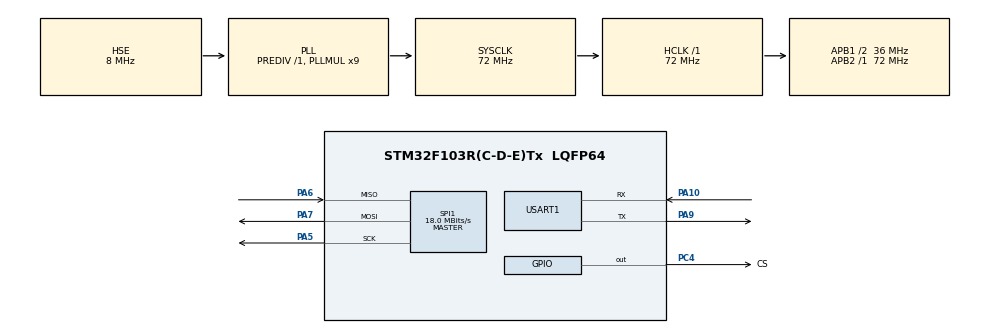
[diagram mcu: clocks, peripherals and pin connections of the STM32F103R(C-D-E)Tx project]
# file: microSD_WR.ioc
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FATFS._MAX_SS=4096
FATFS._USE_LFN=1
Mcu.Family=STM32F1
Mcu.Name=STM32F103R(C-D-E)Tx
Mcu.Package=LQFP64
NVIC.PriorityGroup=NVIC_PRIORITYGROUP_4
NVIC.USART1_IRQn=true\:0\:0\:false\:false\:true\:true\:true\:true
PA10.Mode=Asynchronous
PA10.Signal=USART1_RX
PA13.Mode=Serial_Wire
PA13.Signal=SYS_JTMS-SWDIO
PA14.Mode=Serial_Wire
PA14.Signal=SYS_JTCK-SWCLK
PA5.Mode=Full_Duplex_Master
PA5.Signal=SPI1_SCK
PA6.Mode=Full_Duplex_Master
PA6.Signal=SPI1_MISO
PA7.Mode=Full_Duplex_Master
PA7.Signal=SPI1_MOSI
PA9.Mode=Asynchronous
PA9.Signal=USART1_TX
PC4.GPIO_Label=CS
PC4.GPIO_Speed=GPIO_SPEED_FREQ_MEDIUM
PC4.PinState=GPIO_PIN_SET
PC4.Signal=GPIO_Output
PD0-OSC_IN.Mode=HSE-External-Oscillator
PD0-OSC_IN.Signal=RCC_OSC_IN
PD1-OSC_OUT.Mode=HSE-External-Oscillator
PD1-OSC_OUT.Signal=RCC_OSC_OUT
ProjectManager.HeapSize=0x200
ProjectManager.StackSize=0x400
ProjectManager.TargetToolchain=MDK-ARM V5.32
RCC.AHBFreq_Value=72000000
RCC.APB1CLKDivider=RCC_HCLK_DIV2
RCC.APB1Freq_Value=36000000
RCC.APB1TimFreq_Value=72000000
RCC.APB2Freq_Value=72000000
RCC.APB2TimFreq_Value=72000000
RCC.HCLKFreq_Value=72000000
RCC.PLLMUL=RCC_PLL_MUL9
RCC.PLLSourceVirtual=RCC_PLLSOURCE_HSE
RCC.SYSCLKFreq_VALUE=72000000
RCC.SYSCLKSource=RCC_SYSCLKSOURCE_PLLCLK
RCC.USBFreq_Value=72000000
SPI1.BaudRatePrescaler=SPI_BAUDRATEPRESCALER_4
SPI1.CalculateBaudRate=18.0 MBits/s
SPI1.Direction=SPI_DIRECTION_2LINES
SPI1.Mode=SPI_MODE_MASTER
SPI1.VirtualType=VM_MASTER
USART1.VirtualMode=VM_ASYNC
VP_FATFS_VS_Generic.Mode=User_defined
board=custom

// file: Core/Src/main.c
/* USER CODE BEGIN Header */
/**
 ******************************************************************************
 * @file           : main.c
 * @brief          : Main program body
 ******************************************************************************
 * @attention
 *
 * Copyright (c) 2023 STMicroelectronics.
 * All rights reserved.
 *
 * This software is licensed under terms that can be found in the LICENSE file
 * in the root directory of this software component.
 * If no LICENSE file comes with this software, it is provided AS-IS.
 *
 ******************************************************************************
 */
/* USER CODE END Header */
#include "main.h"
#include "fatfs.h"
#include "spi.h"
#include "usart.h"
#include "gpio.h"

/* USER CODE BEGIN Includes */
// #include "SD.h"
#include "stdio.h"
/* USER CODE END Includes */

/* USER CODE BEGIN PV */
uint8_t error[12] = {'I', 'N', 'I', 'T', ' ', 'E', 'R', 'R', 'O', 'R', '\r', '\n'};
uint8_t succ[7] = {'I', 'N', 'I', 'T', ' ', 'O', 'K'};

FATFS fs;
FATFS *pfs;
FIL fil;
FRESULT fres;
DWORD fre_clust;
uint32_t total, free;

char buffer[100];

/* USER CODE END PV */

void SystemClock_Config(void);
/* USER CODE BEGIN PFP */
void _Error_Handler(void);
/* USER CODE END PFP */

int main(void)
{

    /* MCU Configuration--------------------------------------------------------*/

    /* Reset of all peripherals, Initializes the Flash interface and the Systick. */
    HAL_Init();

    /* Configure the system clock */
    SystemClock_Config();

    /* Initialize all configured peripherals */
    MX_GPIO_Init();
    MX_USART1_UART_Init();
    MX_FATFS_Init();
    MX_SPI1_Init();
    /* USER CODE BEGIN 2 */
    printf("11111 11111\r\n");

    /* Mount SD Card */
    if (f_mount(&fs, "", 0) != FR_OK)
        printf("mount error\r\n");
    else
        printf("mount ok\r\n");

    /* Open file to write */
    if (f_open(&fil, "fuck.txt", FA_OPEN_ALWAYS | FA_READ | FA_WRITE) != FR_OK)
        printf("open error\r\n");
    else
        printf("open ok\r\n");

    /* Check free space */
    if (f_getfree("", &fre_clust, &pfs) != FR_OK)
        printf("getfree error\r\n");
    else
        printf("getfree ok\r\n");

    total = (uint32_t)((pfs->n_fatent - 2) * pfs->csize * 0.5);
    free = (uint32_t)(fre_clust * pfs->csize * 0.5);

    /* Free space is less than 1kb */
    if (free < 1)
        printf("free<1 error\r\n");
    else
        printf("free>1 ok\r\n");

    /* Writing text */
    f_puts("hello world and fuck you\r\n", &fil);
    f_puts("what a fuck world\r\n", &fil);

    /* Close file */
    if (f_close(&fil) != FR_OK)
        printf("close error\r\n");
    else
        printf("close ok\r\n");

    /* Open file to read */
    if (f_open(&fil, "fuck.txt", FA_READ) != FR_OK)
        printf("open2 error\r\n");
    else
        printf("open2 ok\r\n");

    while (f_gets(buffer, sizeof(buffer), &fil))
    {
        //printf("%s", buffer);
    }

    /* Close file */
    if (f_close(&fil) != FR_OK)
        printf("close2 error\r\n");
    else
         printf("close2 ok\r\n");

    /* Unmount SDCARD */
    // if(f_mount(NULL, "", 1) != FR_OK)
    //   _Error_Handler();

    /* USER CODE END 2 */

    /* Infinite loop */
    while (1)
    {

    }
}

void SystemClock_Config(void)
{
    RCC_OscInitTypeDef RCC_OscInitStruct = {0};
    RCC_ClkInitTypeDef RCC_ClkInitStruct = {0};

    /** Initializes the RCC Oscillators according to the specified parameters
    * in the RCC_OscInitTypeDef structure.
    */
    RCC_OscInitStruct.OscillatorType = RCC_OSCILLATORTYPE_HSE;
    RCC_OscInitStruct.HSEState = RCC_HSE_ON;
    RCC_OscInitStruct.HSEPredivValue = RCC_HSE_PREDIV_DIV1;
    RCC_OscInitStruct.HSIState = RCC_HSI_ON;
    RCC_OscInitStruct.PLL.PLLState = RCC_PLL_ON;
    RCC_OscInitStruct.PLL.PLLSource = RCC_PLLSOURCE_HSE;
    RCC_OscInitStruct.PLL.PLLMUL = RCC_PLL_MUL9;
    if (HAL_RCC_OscConfig(&RCC_OscInitStruct) != HAL_OK)
    {
        Error_Handler();
    }

    /** Initializes the CPU, AHB and APB buses clocks
    */
    RCC_ClkInitStruct.ClockType = RCC_CLOCKTYPE_HCLK | RCC_CLOCKTYPE_SYSCLK
                                  | RCC_CLOCKTYPE_PCLK1 | RCC_CLOCKTYPE_PCLK2;
    RCC_ClkInitStruct.SYSCLKSource = RCC_SYSCLKSOURCE_PLLCLK;
    RCC_ClkInitStruct.AHBCLKDivider = RCC_SYSCLK_DIV1;
    RCC_ClkInitStruct.APB1CLKDivider = RCC_HCLK_DIV2;
    RCC_ClkInitStruct.APB2CLKDivider = RCC_HCLK_DIV1;

    if (HAL_RCC_ClockConfig(&RCC_ClkInitStruct, FLASH_LATENCY_2) != HAL_OK)
    {
        Error_Handler();
    }
}

/* USER CODE BEGIN 4 */
/**
  * @brief  This function is executed in case of error occurrence.
  * @param  None
  * @retval None
  */
void _Error_Handler(void)
{
    /* USER CODE BEGIN Error_Handler_Debug */
    /* User can add his own implementation to report the HAL error return state */
    HAL_UART_Transmit(&huart1, error, 12, 10);
    /* USER CODE END Error_Handler_Debug */
}

int fputc(int ch, FILE *f)
{
    uint8_t temp[1] = {ch};
    HAL_UART_Transmit(&huart1, temp, 1, 1);//huart1需要根据你的配置修改
    return ch;
}

/* USER CODE END 4 */

void Error_Handler(void)
{
    /* USER CODE BEGIN Error_Handler_Debug */
    /* User can add his own implementation to report the HAL error return state */
    HAL_UART_Transmit(&huart1, error, 10, 10);
    while (1)
    {
    }
    /* USER CODE END Error_Handler_Debug */
}
